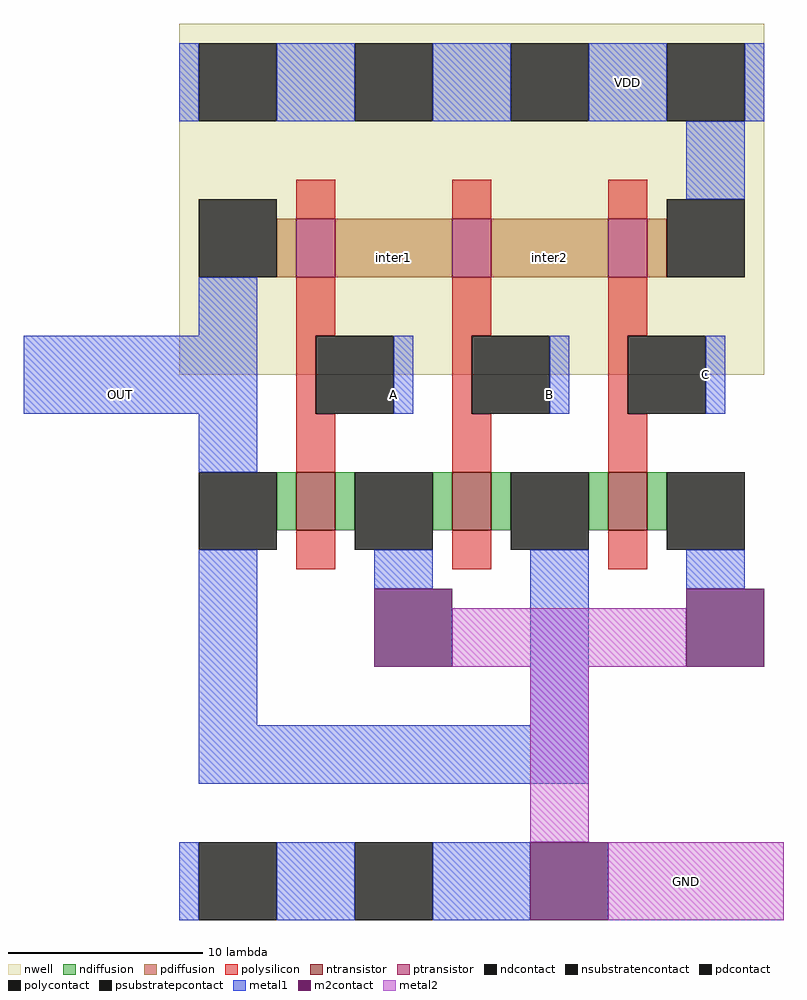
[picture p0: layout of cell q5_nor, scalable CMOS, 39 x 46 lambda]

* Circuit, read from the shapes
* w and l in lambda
.subckt q5_nor A B C GND OUT VDD inter1 inter2
M1 GND A OUT GND nfet w=3 l=2
M2 OUT B GND GND nfet w=3 l=2
M3 GND C OUT GND nfet w=3 l=2
M4 inter1 A OUT VDD pfet w=3 l=2
M5 inter2 B inter1 VDD pfet w=3 l=2
M6 VDD C inter2 VDD pfet w=3 l=2
.ends

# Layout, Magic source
magic
tech scmos
<< nwell >>
rect -9 3 21 21
<< polysilicon >>
rect -3 11 -1 13
rect 5 11 7 13
rect 13 11 15 13
rect -3 5 -1 8
rect 5 5 7 8
rect 13 5 15 8
rect -3 1 -2 5
rect 5 1 6 5
rect 13 1 14 5
rect -3 -2 -1 1
rect 5 -2 7 1
rect 13 -2 15 1
rect -3 -7 -1 -5
rect 5 -7 7 -5
rect 13 -7 15 -5
<< ndiffusion >>
rect -4 -5 -3 -2
rect -1 -5 0 -2
rect 4 -5 5 -2
rect 7 -5 8 -2
rect 12 -5 13 -2
rect 15 -5 16 -2
<< pdiffusion >>
rect -4 8 -3 11
rect -1 8 5 11
rect 7 8 13 11
rect 15 8 16 11
<< metal1 >>
rect -9 16 -8 20
rect -4 16 0 20
rect 4 16 8 20
rect 12 16 16 20
rect 20 16 21 20
rect 17 12 20 16
rect -8 5 -5 8
rect -17 1 -5 5
rect 2 1 3 5
rect 10 1 11 5
rect 18 1 19 5
rect -8 -2 -5 1
rect -8 -15 -5 -6
rect 1 -8 4 -6
rect 9 -15 12 -6
rect 17 -8 20 -6
rect -8 -18 12 -15
rect -9 -25 -8 -21
rect -4 -25 0 -21
rect 4 -25 9 -21
<< metal2 >>
rect 5 -12 17 -9
rect 9 -21 12 -12
rect 13 -25 22 -21
<< ntransistor >>
rect -3 -5 -1 -2
rect 5 -5 7 -2
rect 13 -5 15 -2
<< ptransistor >>
rect -3 8 -1 11
rect 5 8 7 11
rect 13 8 15 11
<< polycontact >>
rect -2 1 2 5
rect 6 1 10 5
rect 14 1 18 5
<< ndcontact >>
rect -8 -6 -4 -2
rect 0 -6 4 -2
rect 8 -6 12 -2
rect 16 -6 20 -2
<< pdcontact >>
rect -8 8 -4 12
rect 16 8 20 12
<< m2contact >>
rect 1 -12 5 -8
rect 17 -12 21 -8
rect 9 -25 13 -21
<< psubstratepcontact >>
rect -8 -25 -4 -21
rect 0 -25 4 -21
<< nsubstratencontact >>
rect -8 16 -4 20
rect 0 16 4 20
rect 8 16 12 20
rect 16 16 20 20
<< labels >>
rlabel metal2 17 -23 17 -23 8 GND
rlabel polycontact 2 2 2 2 1 A
rlabel polycontact 10 2 10 2 1 B
rlabel polycontact 18 3 18 3 7 C
rlabel metal1 14 18 14 18 5 VDD
rlabel pdiffusion 2 9 2 9 1 inter1
rlabel pdiffusion 10 9 10 9 1 inter2
rlabel metal1 -12 2 -12 2 3 OUT
<< end >>
